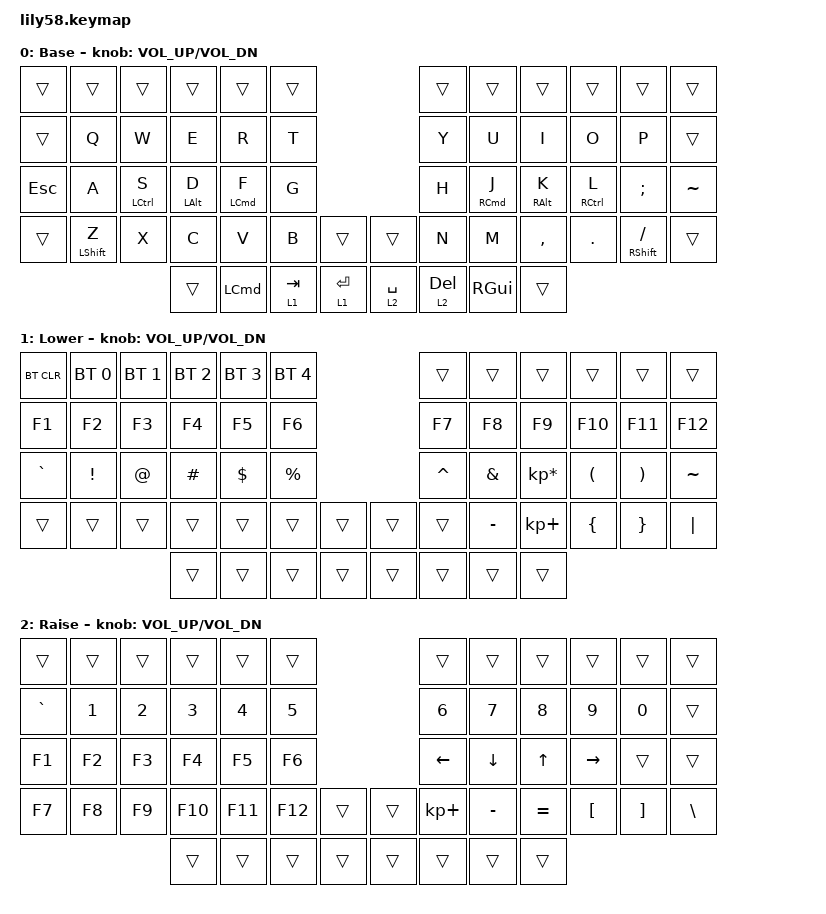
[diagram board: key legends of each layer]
/*
 * Copyright (c) 2020 The ZMK Contributors
 *
 * SPDX-License-Identifier: MIT
 */

#include <behaviors.dtsi>
#include <dt-bindings/zmk/bt.h>
#include <dt-bindings/zmk/keys.h>

/ {
    combos {
        compatible = "zmk,combos";

        control-delete {
            bindings = <&kp LC(DELETE)>;
            key-positions = <46 45 47>;
        };

        delete {
            bindings = <&kp DEL>;
            key-positions = <46 47>;
        };

        tab {
            bindings = <&kp TAB>;
            key-positions = <15 16>;
        };
    };

    keymap {
        compatible = "zmk,keymap";

        default_layer {
            // ------------------------------------------------------------------------------------------------------------
            // |  ESC  |  1  |  2  |  3   |  4   |  5   |                   |  6   |  7    |  8    |  9   |   0   |   `   |
            // |  TAB  |  Q  |  W  |  E   |  R   |  T   |                   |  Y   |  U    |  I    |  O   |   P   |   -   |
            // |  CTRL |  A  |  S  |  D   |  F   |  G   |                   |  H   |  J    |  K    |  L   |   ;   |   '   |
            // | SHIFT |  Z  |  X  |  C   |  V   |  B   |   "["  |  |  "]"  |  N   |  M    |  ,    |  .   |   /   | SHIFT |
            //                     | ALT  | GUI  | LOWER|  SPACE |  | ENTER | RAISE| BSPC  | GUI   |

            display-name = "Base";
            bindings = <
&trans   &trans            &trans              &trans          &trans              &trans                                 &trans     &trans               &trans           &trans               &trans                &trans
&trans   &kp Q             &kp W               &kp E           &kp R               &kp T                                  &kp Y      &kp U                &kp I            &kp O                &kp P                 &trans
&kp ESC  &kp A             &mt LEFT_CONTROL S  &mt LEFT_ALT D  &mt LEFT_COMMAND F  &kp G                                  &kp H      &mt RIGHT_COMMAND J  &mt RIGHT_ALT K  &mt RIGHT_CONTROL L  &kp SEMI              &kp TILDE
&trans   &mt LEFT_SHIFT Z  &kp X               &kp C           &kp V               &kp B      &trans         &trans       &kp N      &kp M                &kp COMMA        &kp DOT              &mt RIGHT_SHIFT FSLH  &trans
                                               &trans          &kp LEFT_COMMAND    &lt 1 TAB  &lt 1 ENTER    &lt 2 SPACE  &lt 2 DEL  &kp RIGHT_GUI        &trans
            >;

            sensor-bindings = <&inc_dec_kp C_VOL_UP C_VOL_DN>;
        };

        lower_layer {
            // ------------------------------------------------------------------------------------------------------------
            // | BTCLR | BT1 | BT2 |  BT3 |  BT4 |  BT5 |                   |      |       |       |      |       |       |
            // |  F1   |  F2 |  F3 |  F4  |  F5  |  F6  |                   |  F7  |  F8   |  F9   |  F10 |  F11  |  F12  |
            // |   `   |  !  |  @  |  #   |  $   |  %   |                   |  ^   |  &    |  *    |  (   |   )   |   ~   |
            // |       |     |     |      |      |      |        |  |       |      |  _    |  +    |  {   |   }   |  "|"  |
            //                     |      |      |      |        |  |       |      |       |       |

            display-name = "Lower";
            bindings = <
&bt BT_CLR  &bt BT_SEL 0  &bt BT_SEL 1  &bt BT_SEL 2  &bt BT_SEL 3  &bt BT_SEL 4                    &trans     &trans     &trans           &trans    &trans    &trans
&kp F1      &kp F2        &kp F3        &kp F4        &kp F5        &kp F6                          &kp F7     &kp F8     &kp F9           &kp F10   &kp F11   &kp F12
&kp GRAVE   &kp EXCL      &kp AT        &kp HASH      &kp DOLLAR    &kp PRCNT                       &kp CARET  &kp AMPS   &kp KP_MULTIPLY  &kp LPAR  &kp RPAR  &kp TILDE
&trans      &trans        &trans        &trans        &trans        &trans        &trans    &trans  &trans     &kp MINUS  &kp KP_PLUS      &kp LBRC  &kp RBRC  &kp PIPE
                                        &trans        &trans        &trans        &trans    &trans  &trans     &trans     &trans
            >;

            sensor-bindings = <&inc_dec_kp C_VOL_UP C_VOL_DN>;
        };

        raise_layer {
            // ------------------------------------------------------------------------------------------------------------
            // |       |     |     |      |      |      |                   |      |       |       |      |       |       |
            // |   `   |  1  |  2  |  3   |  4   |  5   |                   |  6   |   7   |   8   |  9   |   0   |       |
            // |   F1  |  F2 |  F3 |  F4  |  F5  |  F6  |                   |      |   <-  |   v   |  ^   |  ->   |       |
            // |   F7  |  F8 |  F9 |  F10 |  F11 |  F12 |        |  |       |  +   |   -   |   =   |  [   |   ]   |   \   |
            //                     |      |      |      |        |  |       |      |       |       |

            display-name = "Raise";
            bindings = <
&trans     &trans  &trans  &trans   &trans   &trans                     &trans          &trans          &trans        &trans           &trans    &trans
&kp GRAVE  &kp N1  &kp N2  &kp N3   &kp N4   &kp N5                     &kp N6          &kp N7          &kp N8        &kp N9           &kp N0    &trans
&kp F1     &kp F2  &kp F3  &kp F4   &kp F5   &kp F6                     &kp LEFT_ARROW  &kp DOWN_ARROW  &kp UP_ARROW  &kp RIGHT_ARROW  &trans    &trans
&kp F7     &kp F8  &kp F9  &kp F10  &kp F11  &kp F12  &trans    &trans  &kp KP_PLUS     &kp MINUS       &kp EQUAL     &kp LBKT         &kp RBKT  &kp BSLH
                           &trans   &trans   &trans   &trans    &trans  &trans          &trans          &trans
            >;

            sensor-bindings = <&inc_dec_kp C_VOL_UP C_VOL_DN>;
        };

        extra_1 { status = "reserved"; };

        extra_2 { status = "reserved"; };

        extra_3 { status = "reserved"; };
    };
};
